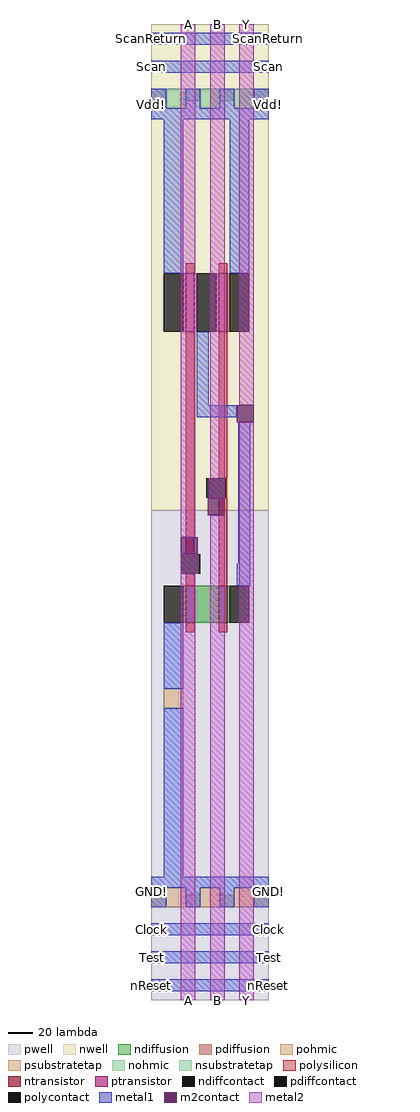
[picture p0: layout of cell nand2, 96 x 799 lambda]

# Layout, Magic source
magic
tech c035u
<< nwell >>
rect 0 401 96 799
<< pwell >>
rect 0 0 96 401
<< polysilicon >>
rect 28 595 35 603
rect 55 595 62 603
rect 28 365 35 547
rect 55 427 62 547
rect 61 411 62 427
rect 28 339 35 349
rect 55 339 62 411
rect 28 301 35 309
rect 55 301 62 309
<< ndiffusion >>
rect 26 309 28 339
rect 35 309 55 339
rect 62 309 64 339
<< pdiffusion >>
rect 26 547 28 595
rect 35 547 37 595
rect 53 547 55 595
rect 62 547 64 595
<< pohmic >>
rect 0 76 12 86
rect 28 76 40 86
rect 56 76 68 86
rect 84 76 96 86
<< nohmic >>
rect 0 736 12 746
rect 28 736 40 746
rect 56 736 68 746
rect 84 736 96 746
<< ntransistor >>
rect 28 309 35 339
rect 55 309 62 339
<< ptransistor >>
rect 28 547 35 595
rect 55 547 62 595
<< polycontact >>
rect 45 411 61 427
rect 24 349 40 365
<< ndiffcontact >>
rect 10 309 26 339
rect 64 309 80 339
<< pdiffcontact >>
rect 10 547 26 595
rect 37 547 53 595
rect 64 547 80 595
<< psubstratetap >>
rect 10 239 26 255
rect 12 76 28 92
rect 40 76 56 92
rect 68 76 84 92
<< nsubstratetap >>
rect 12 730 28 746
rect 40 730 56 746
rect 68 730 84 746
<< metal1 >>
rect 0 782 96 792
rect 0 759 96 769
rect 0 730 12 746
rect 28 730 40 746
rect 56 730 68 746
rect 84 730 96 746
rect 0 721 96 730
rect 10 595 26 721
rect 64 595 80 721
rect 37 487 47 547
rect 37 477 70 487
rect 71 357 81 473
rect 70 339 81 357
rect 10 255 26 309
rect 10 101 26 239
rect 0 92 96 101
rect 0 76 12 92
rect 28 76 40 92
rect 56 76 68 92
rect 84 76 96 92
rect 0 53 96 63
rect 0 30 96 40
rect 0 7 96 17
<< m2contact >>
rect 70 473 84 487
rect 46 397 60 411
rect 24 365 38 379
<< metal2 >>
rect 24 595 36 799
rect 24 547 37 595
rect 24 379 36 547
rect 48 427 60 799
rect 72 487 84 799
rect 47 411 60 427
rect 24 349 38 365
rect 24 0 36 349
rect 48 0 60 397
rect 72 0 84 473
<< labels >>
rlabel metal1 0 53 0 63 3 Clock
rlabel metal1 0 30 0 40 3 Test
rlabel metal1 0 7 0 17 2 nReset
rlabel metal1 0 721 0 746 3 Vdd!
rlabel metal1 0 759 0 769 3 Scan
rlabel metal1 0 782 0 792 4 ScanReturn
rlabel metal2 72 0 84 0 1 Y
rlabel metal2 48 0 60 0 1 B
rlabel metal2 24 0 36 0 1 A
rlabel metal2 72 799 84 799 5 Y
rlabel metal2 48 799 60 799 5 B
rlabel metal2 24 799 36 799 5 A
rlabel metal1 0 76 0 101 3 GND!
rlabel metal1 96 7 96 17 7 nReset
rlabel metal1 96 53 96 63 7 Clock
rlabel metal1 96 30 96 40 7 Test
rlabel metal1 96 76 96 101 7 GND!
rlabel metal1 96 721 96 746 7 Vdd!
rlabel metal1 96 759 96 769 7 Scan
rlabel metal1 96 782 96 792 7 ScanReturn
<< end >>
